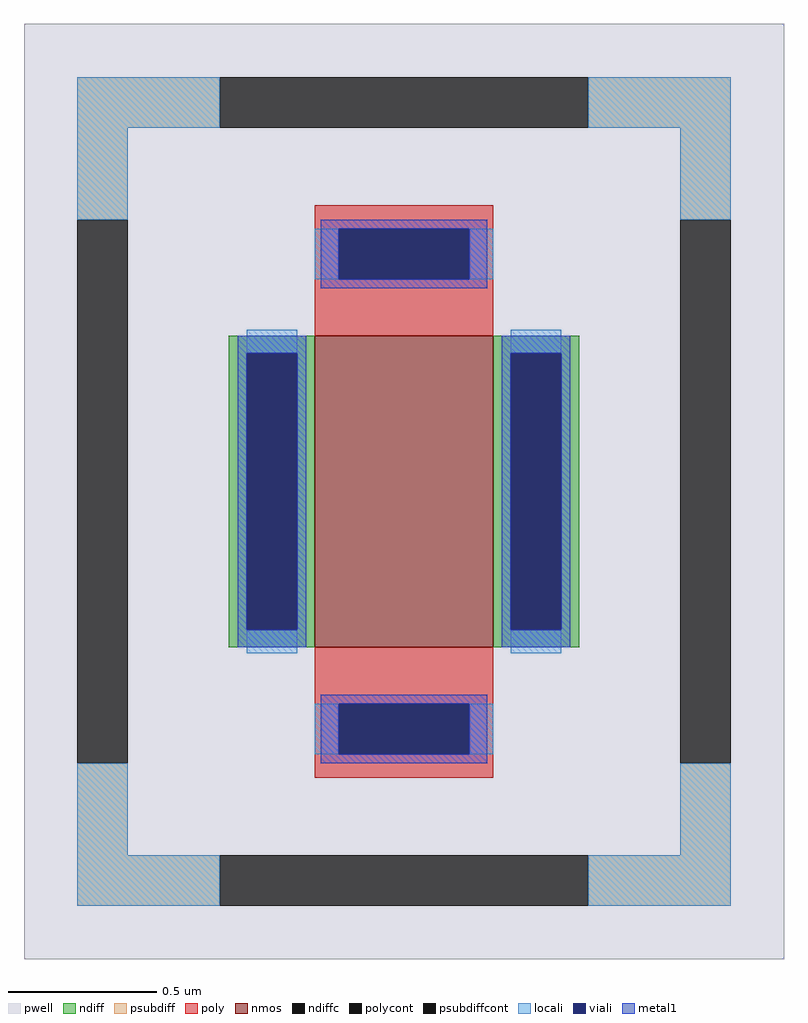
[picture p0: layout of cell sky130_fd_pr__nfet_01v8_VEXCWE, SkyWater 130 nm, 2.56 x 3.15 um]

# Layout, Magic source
magic
tech sky130A
magscale 1 2
<< pwell >>
rect -256 -315 256 315
<< nmos >>
rect -60 -105 60 105
<< ndiff >>
rect -118 93 -60 105
rect -118 -93 -106 93
rect -72 -93 -60 93
rect -118 -105 -60 -93
rect 60 93 118 105
rect 60 -93 72 93
rect 106 -93 118 93
rect 60 -105 118 -93
<< ndiffc >>
rect -106 -93 -72 93
rect 72 -93 106 93
<< psubdiff >>
rect -220 245 -124 279
rect 124 245 220 279
rect -220 183 -186 245
rect 186 183 220 245
rect -220 -245 -186 -183
rect 186 -245 220 -183
rect -220 -279 -124 -245
rect 124 -279 220 -245
<< psubdiffcont >>
rect -124 245 124 279
rect -220 -183 -186 183
rect 186 -183 220 183
rect -124 -279 124 -245
<< poly >>
rect -60 177 60 193
rect -60 143 -44 177
rect 44 143 60 177
rect -60 105 60 143
rect -60 -143 60 -105
rect -60 -177 -44 -143
rect 44 -177 60 -143
rect -60 -193 60 -177
<< polycont >>
rect -44 143 44 177
rect -44 -177 44 -143
<< locali >>
rect -220 245 -124 279
rect 124 245 220 279
rect -220 183 -186 245
rect 186 183 220 245
rect -60 143 -44 177
rect 44 143 60 177
rect -106 93 -72 109
rect -106 -109 -72 -93
rect 72 93 106 109
rect 72 -109 106 -93
rect -60 -177 -44 -143
rect 44 -177 60 -143
rect -220 -245 -186 -183
rect 186 -245 220 -183
rect -220 -279 -124 -245
rect 124 -279 220 -245
<< viali >>
rect -44 143 44 177
rect -106 -93 -72 93
rect 72 -93 106 93
rect -44 -177 44 -143
<< metal1 >>
rect -56 177 56 183
rect -56 143 -44 177
rect 44 143 56 177
rect -56 137 56 143
rect -112 93 -66 105
rect -112 -93 -106 93
rect -72 -93 -66 93
rect -112 -105 -66 -93
rect 66 93 112 105
rect 66 -93 72 93
rect 106 -93 112 93
rect 66 -105 112 -93
rect -56 -143 56 -137
rect -56 -177 -44 -143
rect 44 -177 56 -143
rect -56 -183 56 -177
<< properties >>
string FIXED_BBOX -203 -262 203 262
string gencell sky130_fd_pr__nfet_01v8
string library sky130
string parameters w 1.05 l 0.6 m 1 nf 1 diffcov 100 polycov 100 guard 1 glc 1 grc 1 gtc 1 gbc 1 tbcov 100 rlcov 100 topc 1 botc 1 poverlap 0 doverlap 1 lmin 0.15 wmin 0.42 class mosfet compatible {sky130_fd_pr__nfet_01v8 sky130_fd_pr__nfet_01v8_lvt  sky130_fd_bs_flash__special_sonosfet_star  sky130_fd_pr__nfet_g5v0d10v5 sky130_fd_pr__nfet_05v0_nvt  sky130_fd_pr__nfet_03v3_nvt} full_metal 1 viasrc 100 viadrn 100 viagate 100 viagb 0 viagr 0 viagl 0 viagt 0
<< end >>
